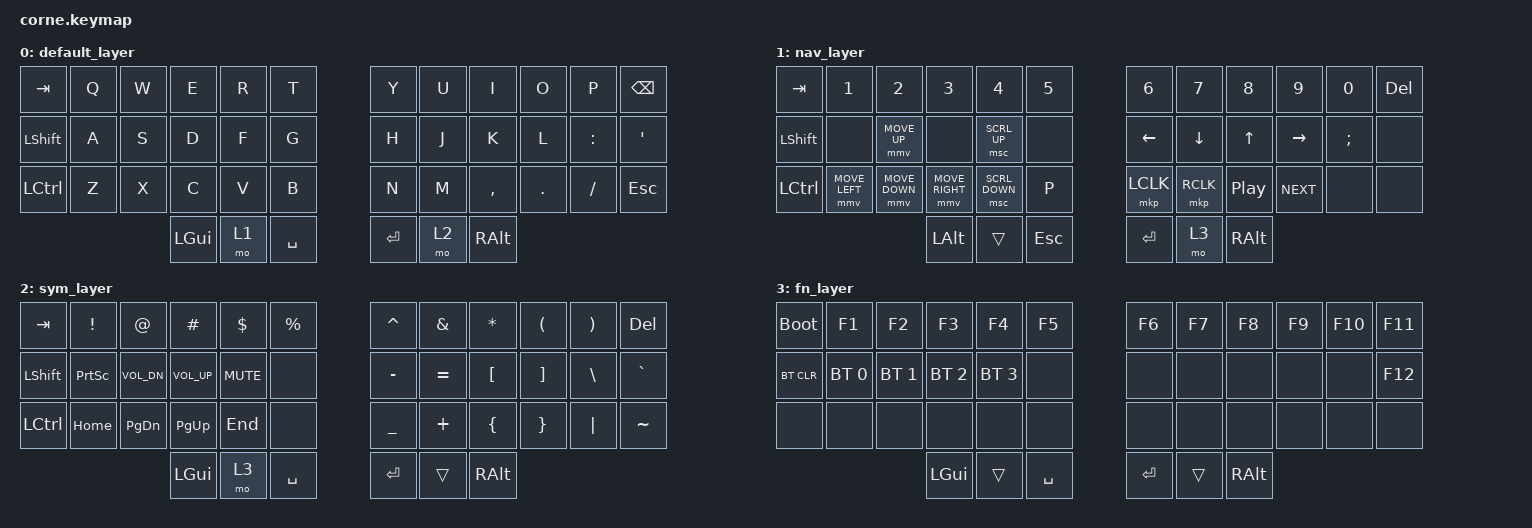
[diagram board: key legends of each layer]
#include <dt-bindings/zmk/mouse.h>
#include <behaviors.dtsi>
#include <dt-bindings/zmk/bt.h>
#include <dt-bindings/zmk/keys.h>
#include <dt-bindings/zmk/pointing.h>

/ {
    keymap {
        compatible = "zmk,keymap";

        /* Layer 0 - Base (QWERTY) */

        default_layer {
            bindings = <
&kp TAB    &kp Q  &kp W  &kp E     &kp R  &kp T        &kp Y    &kp U  &kp I      &kp O    &kp P      &kp BSPC
&kp LSHFT  &kp A  &kp S  &kp D     &kp F  &kp G        &kp H    &kp J  &kp K      &kp L    &kp COLON  &kp SQT
&kp LCTRL  &kp Z  &kp X  &kp C     &kp V  &kp B        &kp N    &kp M  &kp COMMA  &kp DOT  &kp FSLH   &kp ESC
                         &kp LGUI  &mo 1  &kp SPACE    &kp RET  &mo 2  &kp RALT
            >;
        };

        /* Layer 1 - Nav / Mouse */

        nav_layer {
            bindings = <
&kp TAB    &kp N1          &kp N2          &kp N3           &kp N4          &kp N5     &kp N6     &kp N7     &kp N8    &kp N9      &kp N0    &kp DEL
&kp LSHFT  &none           &mmv MOVE_UP    &none            &msc SCRL_UP    &none      &kp LEFT   &kp DOWN   &kp UP    &kp RIGHT   &kp SEMI  &none
&kp LCTRL  &mmv MOVE_LEFT  &mmv MOVE_DOWN  &mmv MOVE_RIGHT  &msc SCRL_DOWN  &kp P      &mkp LCLK  &mkp RCLK  &kp C_PP  &kp C_NEXT  &none     &none
                                           &kp LALT         &trans          &kp ESC    &kp RET    &mo 3      &kp RALT
            >;
        };

        /* Layer 2 - Symbols */

        sym_layer {
    bindings = <
&kp TAB    &kp EXCL   &kp AT        &kp HASH      &kp DLLR    &kp PRCNT    &kp CARET  &kp AMPS   &kp ASTRK  &kp LPAR  &kp RPAR  &kp DEL
&kp LSHFT  &kp PSCRN  &kp C_VOL_DN  &kp C_VOL_UP  &kp C_MUTE  &none        &kp MINUS  &kp EQUAL  &kp LBKT   &kp RBKT  &kp BSLH  &kp GRAVE
&kp LCTRL  &kp HOME   &kp PG_DN     &kp PG_UP     &kp END     &none        &kp UNDER  &kp PLUS   &kp LBRC   &kp RBRC  &kp PIPE  &kp TILDE
                                    &kp LGUI      &mo 3       &kp SPACE    &kp RET    &trans     &kp RALT
    >;
};

        /* Layer 3 - Function keys */

        fn_layer {
            bindings = <
&bootloader  &kp F1        &kp F2        &kp F3        &kp F4        &kp F5       &kp F6   &kp F7  &kp F8    &kp F9  &kp F10  &kp F11
&bt BT_CLR   &bt BT_SEL 0  &bt BT_SEL 1  &bt BT_SEL 2  &bt BT_SEL 3  &none        &none    &none   &none     &none   &none    &kp F12
&none        &none         &none         &none         &none         &none        &none    &none   &none     &none   &none    &none
                                         &kp LGUI      &trans        &kp SPACE    &kp RET  &trans  &kp RALT
            >;
        };
    };
};
